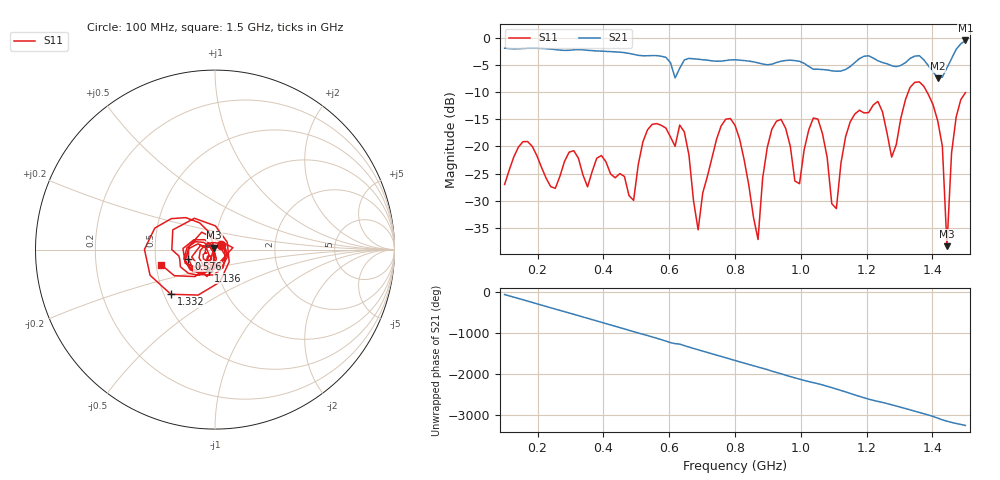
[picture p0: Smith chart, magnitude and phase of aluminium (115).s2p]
! NanoVNA-App
! Date: 2025-09-25 14:56:10
! Start: 100MHz Stop: 1,5GHz Points: 101
! S-Parameter data: F S11 S21 S12 S22
# Hz S RI R 50
!  Frequency  S11_Real  S11_Imag  S21_Real  S21_Imag  S12_Real  S12_Imag  S22_Real  S22_Imag
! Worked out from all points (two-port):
!   101 points, 100 MHz to 1.5 GHz, reference 50 ohm
!   highest |S21| = -0.49 dB at 1.5 GHz (marker M1); lowest = -7.4 dB at 1.416 GHz (marker M2)
!   |S21| within 3 dB of the highest: start of sweep to 582.6 MHz; 1.461 GHz to end of sweep (the widest 2 of 4)
!   lowest |S11| = -38.4 dB at 1.444 GHz (marker M3), VSWR 1.02, Z = 49.5 + j1.07 ohm
!   |S11| at or under -10 dB: start of sweep to 1.327 GHz; 1.383 GHz to end of sweep
!   S12 and S22 are empty: the file has one direction only
!   S11 on the Smith chart (normalised r, x): 100 MHz: 1.07, +0.06; 576 MHz: 0.74, -0.08; 1.136 GHz: 0.91, -0.22; 1.332 GHz: 0.54, -0.31; 1.5 GHz: 0.53, -0.10
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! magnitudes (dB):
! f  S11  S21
! 100 MHz  -27.0  -1.9
! 156 MHz  -19.1  -2.0
! 338 MHz  -25.2  -2.2
! 492 MHz  -29.9  -3.0
! 576 MHz  -16.1  -3.4
! 646 MHz  -17.3  -4.1
! 688 MHz  -35.4  -3.9
! 758 MHz  -16.2  -4.3
! 800 MHz  -16.1  -4.0
! 870 MHz  -37.1  -4.6
! 912 MHz  -16.8  -4.9
! 996 MHz  -26.9  -4.3
! 1.038 GHz  -14.8  -5.8
! 1.108 GHz  -31.4  -6.2
! 1.136 GHz  -18.2  -5.8
! 1.234 GHz  -11.7  -4.2
! 1.276 GHz  -22.0  -5.1
! 1.332 GHz  -9.1  -3.8
! 1.416 GHz  -15.3  -7.4
! 1.444 GHz  -38.4  -5.5
! 1.458 GHz  -21.2  -3.8
! 1.5 GHz  -10.1  -0.5
